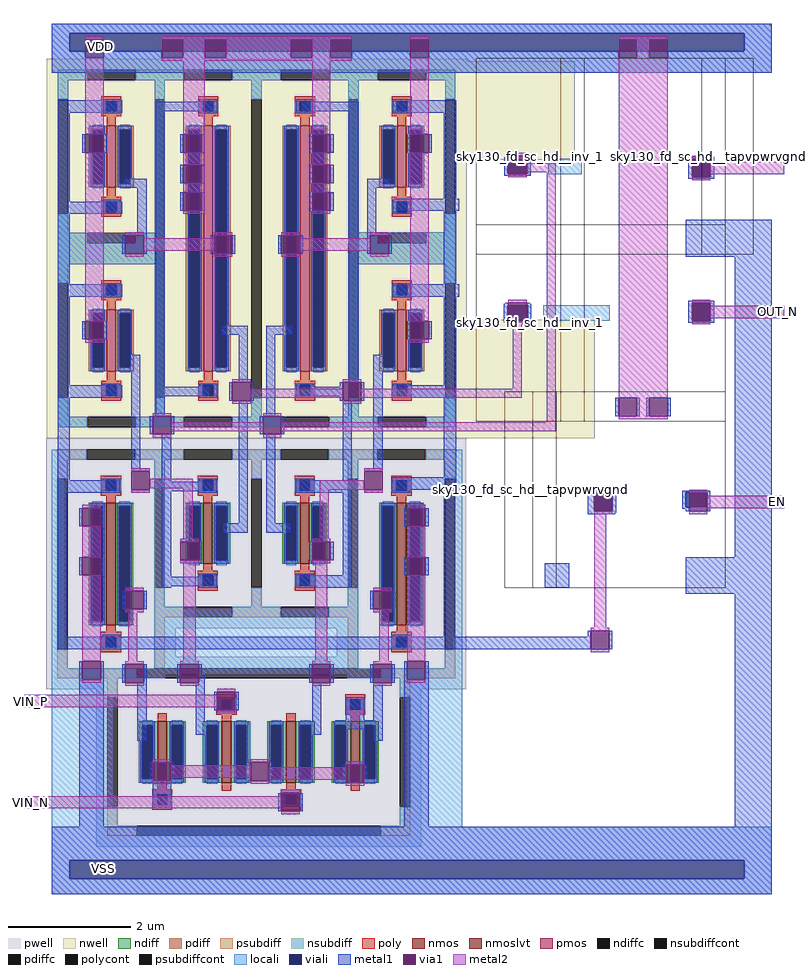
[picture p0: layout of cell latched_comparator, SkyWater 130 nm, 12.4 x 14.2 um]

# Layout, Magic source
magic
tech sky130A
magscale 1 2
<< nwell >>
rect 6680 657 7247 978
rect 6687 -252 7313 135
<< pwell >>
rect 6560 -430 6620 -350
<< nsubdiff >>
rect 5560 323 5896 416
rect 6522 327 6858 420
<< locali >>
rect 5540 1070 7890 1100
rect 5540 1010 5600 1070
rect 7800 1010 7890 1070
rect 5540 940 7890 1010
rect 7160 610 7270 660
rect 5560 323 5896 416
rect 6522 327 6858 420
rect 7145 131 7361 181
rect 5540 -1030 5580 -290
rect 5890 -1020 6520 -810
rect 6850 -1020 6880 -290
rect 5540 -1520 5740 -1030
rect 6700 -1520 6880 -1020
rect 5540 -1630 7890 -1520
rect 5540 -1690 5600 -1630
rect 7800 -1690 7890 -1630
rect 5540 -1740 7890 -1690
<< viali >>
rect 5600 1010 7800 1070
rect 7029 611 7092 658
rect 7630 600 7690 660
rect 7028 133 7094 181
rect 7630 130 7690 190
rect 7310 -490 7370 -430
rect 7610 -477 7677 -429
rect 5600 -1690 7800 -1630
<< metal1 >>
rect 5540 1070 7890 1100
rect 5540 1010 5600 1070
rect 7800 1010 7890 1070
rect 5540 990 5650 1010
rect 5710 990 5900 1010
rect 5970 990 6040 1010
rect 6110 990 6320 1010
rect 6390 990 6450 1010
rect 6520 990 6710 1010
rect 6770 990 7390 1010
rect 7450 990 7490 1010
rect 7550 990 7890 1010
rect 5540 940 7890 990
rect 5560 810 5770 850
rect 5880 815 6075 845
rect 6355 815 6540 845
rect 5560 520 5600 810
rect 5640 680 5650 740
rect 5710 680 5720 740
rect 5775 565 5850 595
rect 5560 480 5770 520
rect 5560 250 5600 480
rect 5820 410 5850 565
rect 5770 350 5780 410
rect 5840 350 5850 410
rect 5560 210 5770 250
rect 5560 -80 5600 210
rect 5640 70 5650 130
rect 5710 70 5720 130
rect 5560 -120 5770 -80
rect 5560 -390 5600 -120
rect 5800 -350 5830 20
rect 5880 -85 5910 815
rect 5960 680 5970 740
rect 6030 680 6040 740
rect 6380 680 6390 740
rect 6450 680 6460 740
rect 5960 580 5970 640
rect 6030 580 6040 640
rect 6380 580 6390 640
rect 6450 580 6460 640
rect 5960 490 5970 550
rect 6030 490 6040 550
rect 6380 490 6390 550
rect 6450 490 6460 550
rect 6060 350 6070 410
rect 6130 350 6140 410
rect 6280 350 6290 410
rect 6350 350 6360 410
rect 6095 85 6180 115
rect 6150 -70 6180 85
rect 6240 85 6325 115
rect 5880 -115 6055 -85
rect 5880 -180 5910 -115
rect 6120 -130 6130 -70
rect 6190 -130 6200 -70
rect 5860 -240 5870 -180
rect 5930 -240 5940 -180
rect 5800 -360 5860 -350
rect 5560 -430 5750 -390
rect 5800 -430 5860 -420
rect 5900 -395 5930 -240
rect 5900 -425 6075 -395
rect 5560 -900 5590 -430
rect 5630 -540 5640 -480
rect 5700 -540 5710 -480
rect 5630 -700 5640 -640
rect 5700 -700 5710 -640
rect 5900 -705 5930 -425
rect 6150 -530 6180 -130
rect 6240 -180 6270 85
rect 6510 -70 6540 815
rect 6660 810 6860 850
rect 6700 680 6710 740
rect 6770 680 6780 740
rect 6570 565 6645 595
rect 6570 410 6600 565
rect 6820 530 6860 810
rect 7020 664 7030 670
rect 7017 658 7030 664
rect 7090 664 7100 670
rect 7090 658 7104 664
rect 7017 611 7029 658
rect 7092 611 7104 658
rect 7017 610 7030 611
rect 7090 610 7104 611
rect 7017 605 7104 610
rect 7618 660 7702 666
rect 7618 600 7630 660
rect 7690 600 7702 660
rect 7618 594 7702 600
rect 6660 490 6870 530
rect 6570 350 6580 410
rect 6640 350 6650 410
rect 6820 250 6860 490
rect 7610 340 7890 460
rect 6660 210 6870 250
rect 6700 70 6710 130
rect 6770 70 6780 130
rect 6480 -85 6490 -70
rect 6355 -115 6490 -85
rect 6480 -130 6490 -115
rect 6550 -130 6560 -70
rect 6220 -240 6230 -180
rect 6290 -240 6300 -180
rect 6100 -560 6180 -530
rect 6240 -530 6270 -240
rect 6490 -390 6520 -130
rect 6590 -350 6620 20
rect 6820 -80 6860 210
rect 7618 190 7702 196
rect 7020 187 7030 190
rect 7016 181 7030 187
rect 7090 187 7100 190
rect 7090 181 7106 187
rect 7016 133 7028 181
rect 7094 133 7106 181
rect 7016 130 7030 133
rect 7090 130 7106 133
rect 7016 127 7106 130
rect 7618 130 7630 190
rect 7690 130 7702 190
rect 7618 124 7702 130
rect 6650 -120 6860 -80
rect 6340 -430 6520 -390
rect 6560 -360 6620 -350
rect 6820 -380 6860 -120
rect 7380 -180 7390 -120
rect 7450 -180 7460 -120
rect 7480 -180 7490 -120
rect 7550 -180 7560 -120
rect 6650 -420 6860 -380
rect 6560 -430 6620 -420
rect 6240 -560 6320 -530
rect 5960 -590 6020 -580
rect 6020 -650 6030 -590
rect 6380 -650 6390 -590
rect 6450 -650 6460 -590
rect 5960 -660 6020 -650
rect 6490 -700 6520 -430
rect 6690 -540 6700 -480
rect 6760 -540 6770 -480
rect 6690 -700 6700 -640
rect 6760 -700 6770 -640
rect 5900 -735 6065 -705
rect 5900 -740 5930 -735
rect 6340 -740 6520 -700
rect 5770 -810 5780 -750
rect 5840 -810 5850 -750
rect 6580 -810 6590 -750
rect 6650 -810 6660 -750
rect 6820 -900 6854 -420
rect 7290 -424 7380 -420
rect 7290 -430 7382 -424
rect 7290 -490 7310 -430
rect 7370 -490 7382 -430
rect 7598 -429 7689 -423
rect 7598 -477 7610 -429
rect 7677 -430 7689 -429
rect 7598 -483 7620 -477
rect 7610 -490 7620 -483
rect 7680 -490 7690 -430
rect 7290 -496 7382 -490
rect 7290 -500 7380 -496
rect 7770 -640 7890 340
rect 7150 -740 7230 -660
rect 7610 -760 7890 -640
rect 7290 -900 7300 -880
rect 5560 -940 7300 -900
rect 7360 -940 7370 -880
rect 5630 -1040 5640 -980
rect 5700 -1040 5710 -980
rect 5630 -1520 5710 -1040
rect 5770 -1050 5780 -990
rect 5840 -1050 5850 -990
rect 5950 -1050 5960 -990
rect 6020 -1025 6030 -990
rect 6020 -1050 6040 -1025
rect 6380 -1050 6390 -990
rect 6450 -1050 6460 -990
rect 6580 -1050 6590 -990
rect 6650 -1050 6660 -990
rect 6690 -1040 6700 -980
rect 6760 -1040 6770 -980
rect 5820 -1240 5850 -1050
rect 6010 -1220 6040 -1050
rect 6070 -1140 6080 -1080
rect 6140 -1140 6150 -1080
rect 6390 -1220 6420 -1050
rect 6500 -1174 6560 -1100
rect 6590 -1174 6620 -1050
rect 6466 -1180 6620 -1174
rect 6500 -1202 6560 -1180
rect 6590 -1240 6620 -1180
rect 5860 -1370 5870 -1310
rect 5930 -1370 5940 -1310
rect 6180 -1370 6190 -1310
rect 6250 -1370 6260 -1310
rect 5870 -1460 5930 -1370
rect 6490 -1376 6500 -1316
rect 6560 -1376 6570 -1316
rect 6280 -1470 6290 -1410
rect 6350 -1470 6360 -1410
rect 6690 -1520 6770 -1040
rect 7770 -1520 7890 -760
rect 5540 -1630 7890 -1520
rect 5540 -1690 5600 -1630
rect 7800 -1690 7890 -1630
rect 5540 -1740 7890 -1690
<< via1 >>
rect 5650 1010 5710 1050
rect 5900 1010 5970 1050
rect 6040 1010 6110 1050
rect 6320 1010 6390 1050
rect 6450 1010 6520 1050
rect 6710 1010 6770 1050
rect 7390 1010 7450 1050
rect 7490 1010 7550 1050
rect 5650 990 5710 1010
rect 5900 990 5970 1010
rect 6040 990 6110 1010
rect 6320 990 6390 1010
rect 6450 990 6520 1010
rect 6710 990 6770 1010
rect 7390 990 7450 1010
rect 7490 990 7550 1010
rect 5650 680 5710 740
rect 5780 350 5840 410
rect 5650 70 5710 130
rect 5970 680 6030 740
rect 6390 680 6450 740
rect 5970 580 6030 640
rect 6390 580 6450 640
rect 5970 490 6030 550
rect 6390 490 6450 550
rect 6070 350 6130 410
rect 6290 350 6350 410
rect 6130 -130 6190 -70
rect 5870 -240 5930 -180
rect 5800 -420 5860 -360
rect 5640 -540 5700 -480
rect 5640 -700 5700 -640
rect 6710 680 6770 740
rect 7030 658 7090 670
rect 7030 611 7090 658
rect 7030 610 7090 611
rect 7630 600 7690 660
rect 6580 350 6640 410
rect 6710 70 6770 130
rect 6490 -130 6550 -70
rect 6230 -240 6290 -180
rect 7030 181 7090 190
rect 7030 133 7090 181
rect 7030 130 7090 133
rect 7630 130 7690 190
rect 6560 -420 6620 -360
rect 7390 -180 7450 -120
rect 7490 -180 7550 -120
rect 5960 -650 6020 -590
rect 6390 -650 6450 -590
rect 6700 -540 6760 -480
rect 6700 -700 6760 -640
rect 5780 -810 5840 -750
rect 6590 -810 6650 -750
rect 7310 -490 7370 -430
rect 7620 -477 7677 -430
rect 7677 -477 7680 -430
rect 7620 -490 7680 -477
rect 7300 -940 7360 -880
rect 5640 -1040 5700 -980
rect 5780 -1050 5840 -990
rect 5960 -1050 6020 -990
rect 6390 -1050 6450 -990
rect 6590 -1050 6650 -990
rect 6700 -1040 6760 -980
rect 6080 -1140 6140 -1080
rect 5870 -1370 5930 -1310
rect 6190 -1370 6250 -1310
rect 6500 -1376 6560 -1316
rect 6290 -1470 6350 -1410
<< metal2 >>
rect 5650 1050 5710 1060
rect 5650 740 5710 990
rect 5900 1050 6520 1060
rect 5970 990 6040 1050
rect 6110 990 6320 1050
rect 6390 990 6450 1050
rect 5900 980 6520 990
rect 6710 1050 6770 1060
rect 5650 130 5710 680
rect 5970 740 6040 980
rect 6030 680 6040 740
rect 5970 640 6040 680
rect 6030 580 6040 640
rect 5970 550 6040 580
rect 6030 490 6040 550
rect 5970 480 6040 490
rect 6390 740 6450 980
rect 6390 640 6450 680
rect 6390 550 6450 580
rect 6390 480 6450 490
rect 6710 740 6770 990
rect 7390 1050 7550 1060
rect 7450 990 7490 1050
rect 5780 410 5840 420
rect 6070 410 6130 420
rect 5840 360 6070 400
rect 5780 340 5840 350
rect 6070 340 6130 350
rect 6290 410 6350 420
rect 6580 410 6640 420
rect 6350 360 6580 400
rect 6290 340 6350 350
rect 6580 340 6640 350
rect 5650 60 5710 70
rect 6710 130 6770 680
rect 7030 670 7090 680
rect 7090 615 7185 645
rect 7030 600 7090 610
rect 7030 190 7090 200
rect 7030 120 7090 130
rect 6710 60 6770 70
rect 6130 -70 6190 -60
rect 6490 -70 6550 -60
rect 6190 -120 6490 -90
rect 6130 -140 6190 -130
rect 7045 -90 7075 120
rect 6550 -120 7075 -90
rect 6490 -140 6550 -130
rect 5870 -180 5930 -170
rect 6230 -180 6290 -170
rect 5930 -230 6230 -200
rect 5870 -250 5930 -240
rect 7155 -200 7185 615
rect 7390 -120 7550 990
rect 7630 660 7690 670
rect 7690 610 7930 650
rect 7630 590 7690 600
rect 7630 190 7690 200
rect 7690 140 7930 180
rect 7630 120 7690 130
rect 7450 -180 7490 -120
rect 7390 -190 7550 -180
rect 6290 -230 7185 -200
rect 6230 -250 6290 -240
rect 5800 -360 5860 -350
rect 6560 -360 6620 -350
rect 5860 -415 6000 -385
rect 5800 -430 5860 -420
rect 5640 -480 5700 -470
rect 5640 -640 5700 -540
rect 5970 -580 6000 -415
rect 6415 -420 6560 -390
rect 6415 -580 6445 -420
rect 6560 -430 6620 -420
rect 7310 -430 7370 -420
rect 6700 -480 6760 -470
rect 5960 -590 6020 -580
rect 5960 -660 6020 -650
rect 6390 -590 6450 -580
rect 6390 -660 6450 -650
rect 6700 -640 6760 -540
rect 5640 -980 5700 -700
rect 5780 -750 5840 -740
rect 5780 -820 5840 -810
rect 5790 -980 5820 -820
rect 5970 -980 6010 -660
rect 6400 -980 6440 -660
rect 6590 -750 6650 -740
rect 6590 -820 6650 -810
rect 6610 -980 6640 -820
rect 6700 -980 6760 -700
rect 7310 -500 7370 -490
rect 7620 -430 7680 -420
rect 7680 -480 7930 -440
rect 7620 -500 7680 -490
rect 7310 -870 7350 -500
rect 7300 -880 7360 -870
rect 7300 -950 7360 -940
rect 5640 -1050 5700 -1040
rect 5780 -990 5840 -980
rect 5780 -1060 5840 -1050
rect 5960 -990 6020 -980
rect 5960 -1060 6020 -1050
rect 6390 -990 6450 -980
rect 6390 -1060 6450 -1050
rect 6590 -990 6650 -980
rect 6700 -1050 6760 -1040
rect 6590 -1060 6650 -1050
rect 6080 -1080 6140 -1070
rect 5450 -1130 6080 -1090
rect 6080 -1150 6140 -1140
rect 5870 -1310 5930 -1300
rect 6190 -1310 6250 -1300
rect 5930 -1360 6190 -1320
rect 5870 -1380 5930 -1370
rect 6500 -1316 6560 -1306
rect 6250 -1366 6500 -1326
rect 6190 -1380 6250 -1370
rect 6500 -1386 6560 -1376
rect 6290 -1410 6350 -1400
rect 5450 -1460 6290 -1420
rect 6290 -1480 6350 -1470
use sky130_fd_pr__nfet_01v8_7XK7PK  sky130_fd_pr__nfet_01v8_7XK7PK_0
transform -1 0 6682 0 1 -662
box -211 -410 211 410
use sky130_fd_pr__nfet_01v8_648S5X  sky130_fd_pr__nfet_01v8_648S5X_0
transform 1 0 6050 0 1 -562
box -211 -310 211 310
use sky130_fd_pr__pfet_01v8_KPCVAL  sky130_fd_pr__pfet_01v8_KPCVAL_0
transform 1 0 6683 0 1 67
box -211 -319 211 319
use sky130_fd_sc_hd__tapvpwrvgnd_1  sky130_fd_sc_hd__tapvpwrvgnd_1_0 $PDKPATH/libs.ref/sky130_fd_sc_hd/mag
transform 1 0 7056 0 1 -692
box -38 -48 130 592
use sky130_fd_sc_hd__tapvpwrvgnd_1  sky130_fd_sc_hd__tapvpwrvgnd_1_1
transform 1 0 7700 0 1 396
box -38 -48 130 592
use sky130_fd_sc_hd__buf_4  x1 $PDKPATH/libs.ref/sky130_fd_sc_hd/mag
transform -1 0 7700 0 1 -692
box -38 -48 590 592
use sky130_fd_sc_hd__inv_1  x4 $PDKPATH/libs.ref/sky130_fd_sc_hd/mag
transform 1 0 6964 0 1 396
box -38 -48 314 592
use sky130_fd_sc_hd__inv_1  x5
transform 1 0 6964 0 -1 396
box -38 -48 314 592
use sky130_fd_sc_hd__inv_4  x6 $PDKPATH/libs.ref/sky130_fd_sc_hd/mag
transform 1 0 7240 0 -1 396
box -38 -48 498 592
use sky130_fd_sc_hd__inv_4  x7
transform 1 0 7240 0 1 396
box -38 -48 498 592
use sky130_fd_pr__nfet_01v8_lvt_DTMSLK  XM1
transform 1 0 6216 0 1 -1276
box -530 -310 530 310
use sky130_fd_pr__nfet_01v8_648S5X  XM4
transform 1 0 6366 0 1 -562
box -211 -310 211 310
use sky130_fd_pr__pfet_01v8_UNYNRG  XM5
transform 1 0 5735 0 1 667
box -211 -319 211 319
use sky130_fd_pr__pfet_01v8_XGASDL  XM6
transform 1 0 6051 0 1 367
box -211 -619 211 619
use sky130_fd_pr__pfet_01v8_XGASDL  XM9
transform 1 0 6367 0 1 367
box -211 -619 211 619
use sky130_fd_pr__pfet_01v8_YRYNRG  XM10
transform 1 0 5735 0 1 67
box -211 -319 211 319
use sky130_fd_pr__pfet_01v8_XG57AL  XM11
transform 1 0 6683 0 1 667
box -211 -319 211 319
use sky130_fd_pr__nfet_01v8_7XK7PK  XM18
transform 1 0 5734 0 1 -662
box -211 -410 211 410
<< labels >>
rlabel metal2 5450 -1130 5490 -1090 1 VIN_P
port 1 n
rlabel metal2 5450 -1460 5490 -1420 1 VIN_N
port 2 n
rlabel locali 5570 970 5830 1080 1 VDD
port 0 n
rlabel metal1 5580 -1710 5840 -1600 1 VSS
port 6 n
rlabel metal2 7890 -480 7930 -440 1 EN
port 3 n
rlabel metal2 7890 140 7930 180 1 OUT_N
port 5 n
rlabel metal2 7890 610 7930 650 1 OUT_P
port 4 n
<< end >>

# cell sky130_fd_pr__nfet_01v8_7XK7PK: kit device sky130_fd_pr__nfet_01v8, w 2 l 0.15 m 1 nf 1 diffcov 100 polycov 100 guard 1 glc 1 grc 0 gtc 1 gbc 0 tbcov 100 rlcov 100 topc 1 botc 1 poverlap 0 doverlap 1 lmin 0.15 wmin 0.42 compatible {sky130_fd_pr__nfet_01v8 sky130_fd_pr__nfet_01v8_lvt sky130_fd_bs_flash__special_sonosfet_star sky130_fd_pr__nfet_g5v0d10v5 sky130_fd_pr__nfet_05v0_nvt sky130_fd_pr__nfet_03v3_nvt} full_metal 1 viasrc 100 viadrn 100 viagate 100 viagb 0 viagr 0 viagl 0 viagt 0

# cell sky130_fd_pr__nfet_01v8_648S5X: kit device sky130_fd_pr__nfet_01v8, w 1.0 l 0.15 m 1 nf 1 diffcov 100 polycov 100 guard 1 glc 1 grc 1 gtc 1 gbc 1 tbcov 100 rlcov 100 topc 1 botc 1 poverlap 0 doverlap 1 lmin 0.15 wmin 0.42 compatible {sky130_fd_pr__nfet_01v8 sky130_fd_pr__nfet_01v8_lvt sky130_fd_bs_flash__special_sonosfet_star sky130_fd_pr__nfet_g5v0d10v5 sky130_fd_pr__nfet_05v0_nvt sky130_fd_pr__nfet_03v3_nvt} full_metal 1 viasrc 100 viadrn 100 viagate 100 viagb 0 viagr 0 viagl 0 viagt 0

# cell sky130_fd_pr__pfet_01v8_KPCVAL: kit device sky130_fd_pr__pfet_01v8, w 1.0 l 0.15 m 1 nf 1 diffcov 100 polycov 100 guard 1 glc 0 grc 1 gtc 0 gbc 1 tbcov 100 rlcov 100 topc 1 botc 1 poverlap 0 doverlap 1 lmin 0.15 wmin 0.42 compatible {sky130_fd_pr__pfet_01v8 sky130_fd_pr__pfet_01v8_lvt sky130_fd_pr__pfet_01v8_hvt sky130_fd_pr__pfet_g5v0d10v5} full_metal 1 viasrc 100 viadrn 100 viagate 100 viagb 0 viagr 0 viagl 0 viagt 0

# cell sky130_fd_pr__nfet_01v8_lvt_DTMSLK: kit device sky130_fd_pr__nfet_01v8_lvt, w 1.0 l 0.15 m 1 nf 4 diffcov 100 polycov 100 guard 1 glc 1 grc 1 gtc 1 gbc 1 tbcov 100 rlcov 100 topc 1 botc 0 poverlap 0 doverlap 0 lmin 0.15 wmin 0.42 compatible {sky130_fd_pr__nfet_01v8 sky130_fd_pr__nfet_01v8_lvt sky130_fd_bs_flash__special_sonosfet_star sky130_fd_pr__nfet_g5v0d10v5 sky130_fd_pr__nfet_05v0_nvt sky130_fd_pr__nfet_03v3_nvt} full_metal 1 viasrc 100 viadrn 100 viagate 100 viagb 0 viagr 0 viagl 0 viagt 0

# cell sky130_fd_pr__pfet_01v8_UNYNRG: kit device sky130_fd_pr__pfet_01v8, w 1.0 l 0.15 m 1 nf 1 diffcov 100 polycov 100 guard 1 glc 1 grc 0 gtc 1 gbc 1 tbcov 100 rlcov 100 topc 1 botc 1 poverlap 0 doverlap 1 lmin 0.15 wmin 0.42 compatible {sky130_fd_pr__pfet_01v8 sky130_fd_pr__pfet_01v8_lvt sky130_fd_pr__pfet_01v8_hvt sky130_fd_pr__pfet_g5v0d10v5} full_metal 1 viasrc 100 viadrn 100 viagate 100 viagb 0 viagr 0 viagl 0 viagt 0

# cell sky130_fd_pr__pfet_01v8_XGASDL: kit device sky130_fd_pr__pfet_01v8, w 4.0 l 0.15 m 1 nf 1 diffcov 100 polycov 100 guard 1 glc 1 grc 1 gtc 1 gbc 1 tbcov 100 rlcov 100 topc 1 botc 1 poverlap 0 doverlap 1 lmin 0.15 wmin 0.42 compatible {sky130_fd_pr__pfet_01v8 sky130_fd_pr__pfet_01v8_lvt sky130_fd_pr__pfet_01v8_hvt sky130_fd_pr__pfet_g5v0d10v5} full_metal 1 viasrc 100 viadrn 100 viagate 100 viagb 0 viagr 0 viagl 0 viagt 0

# cell sky130_fd_pr__pfet_01v8_YRYNRG: kit device sky130_fd_pr__pfet_01v8, w 1.0 l 0.15 m 1 nf 1 diffcov 100 polycov 100 guard 1 glc 1 grc 0 gtc 0 gbc 1 tbcov 100 rlcov 100 topc 1 botc 1 poverlap 0 doverlap 1 lmin 0.15 wmin 0.42 compatible {sky130_fd_pr__pfet_01v8 sky130_fd_pr__pfet_01v8_lvt sky130_fd_pr__pfet_01v8_hvt sky130_fd_pr__pfet_g5v0d10v5} full_metal 1 viasrc 100 viadrn 100 viagate 100 viagb 0 viagr 0 viagl 0 viagt 0

# cell sky130_fd_pr__pfet_01v8_XG57AL: kit device sky130_fd_pr__pfet_01v8, w 1.0 l 0.15 m 1 nf 1 diffcov 100 polycov 100 guard 1 glc 0 grc 1 gtc 1 gbc 1 tbcov 100 rlcov 100 topc 1 botc 1 poverlap 0 doverlap 1 lmin 0.15 wmin 0.42 compatible {sky130_fd_pr__pfet_01v8 sky130_fd_pr__pfet_01v8_lvt sky130_fd_pr__pfet_01v8_hvt sky130_fd_pr__pfet_g5v0d10v5} full_metal 1 viasrc 100 viadrn 100 viagate 100 viagb 0 viagr 0 viagl 0 viagt 0
